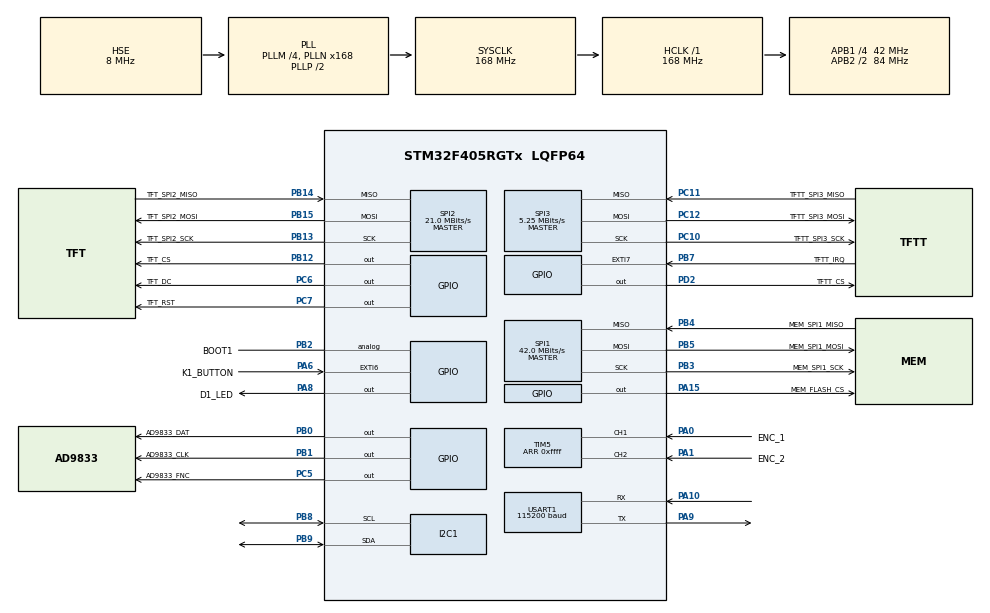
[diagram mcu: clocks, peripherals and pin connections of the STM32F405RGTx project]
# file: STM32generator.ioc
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Dma.Request0=SPI2_TX
Dma.SPI2_TX.0.Direction=DMA_MEMORY_TO_PERIPH
Dma.SPI2_TX.0.FIFOMode=DMA_FIFOMODE_DISABLE
Dma.SPI2_TX.0.Instance=DMA1_Stream4
Dma.SPI2_TX.0.MemDataAlignment=DMA_MDATAALIGN_BYTE
Dma.SPI2_TX.0.MemInc=DMA_MINC_ENABLE
Dma.SPI2_TX.0.Mode=DMA_NORMAL
Dma.SPI2_TX.0.PeriphDataAlignment=DMA_PDATAALIGN_BYTE
Dma.SPI2_TX.0.PeriphInc=DMA_PINC_DISABLE
Dma.SPI2_TX.0.Priority=DMA_PRIORITY_LOW
I2C1.I2C_Mode=I2C_Standard
Mcu.Family=STM32F4
Mcu.Name=STM32F405RGTx
Mcu.Package=LQFP64
NVIC.DMA1_Stream4_IRQn=true\:0\:0\:false\:false\:true\:true\:true\:true
NVIC.EXTI9_5_IRQn=true\:0\:0\:false\:false\:true\:true\:true\:true
NVIC.PriorityGroup=NVIC_PRIORITYGROUP_4
NVIC.SPI2_IRQn=true\:0\:0\:false\:false\:true\:true\:true\:true
PA0-WKUP.GPIO_Label=ENC_1
PA0-WKUP.Signal=S_TIM5_CH1
PA1.GPIO_Label=ENC_2
PA1.Signal=S_TIM5_CH2
PA10.Mode=Asynchronous
PA10.Signal=USART1_RX
PA11.Signal=USB_OTG_FS_DM
PA12.Signal=USB_OTG_FS_DP
PA13.Mode=Serial_Wire
PA13.Signal=SYS_JTMS-SWDIO
PA14.Mode=Serial_Wire
PA14.Signal=SYS_JTCK-SWCLK
PA15.GPIO_Label=MEM_FLASH_CS
PA15.Signal=GPIO_Output
PA6.GPIO_Label=K1_BUTTON
PA6.GPIO_ModeDefaultEXTI=GPIO_MODE_IT_FALLING
PA6.GPIO_PuPd=GPIO_NOPULL
PA6.Signal=GPXTI6
PA8.GPIO_Label=D1_LED
PA8.Signal=GPIO_Output
PA9.Mode=Asynchronous
PA9.Signal=USART1_TX
PB0.GPIO_Label=AD9833_DAT
PB0.Signal=GPIO_Output
PB1.GPIO_Label=AD9833_CLK
PB1.Signal=GPIO_Output
PB12.GPIO_Label=TFT_CS
PB12.Signal=GPIO_Output
PB13.GPIO_Label=TFT_SPI2_SCK
PB13.Mode=Full_Duplex_Master
PB13.Signal=SPI2_SCK
PB14.GPIO_Label=TFT_SPI2_MISO
PB14.Mode=Full_Duplex_Master
PB14.Signal=SPI2_MISO
PB15.GPIO_Label=TFT_SPI2_MOSI
PB15.Mode=Full_Duplex_Master
PB15.Signal=SPI2_MOSI
PB2.GPIO_Label=BOOT1
PB2.Signal=GPIO_Analog
PB3.GPIO_Label=MEM_SPI1_SCK
PB3.Mode=Full_Duplex_Master
PB3.Signal=SPI1_SCK
PB4.GPIO_Label=MEM_SPI1_MISO
PB4.Mode=Full_Duplex_Master
PB4.Signal=SPI1_MISO
PB5.GPIO_Label=MEM_SPI1_MOSI
PB5.Mode=Full_Duplex_Master
PB5.Signal=SPI1_MOSI
PB7.GPIO_Label=TFTT_IRQ
PB7.Signal=GPXTI7
PB8.GPIO_Pu=GPIO_PULLUP
PB8.Mode=I2C
PB8.Signal=I2C1_SCL
PB9.GPIO_Pu=GPIO_PULLUP
PB9.Mode=I2C
PB9.Signal=I2C1_SDA
PC10.GPIO_Label=TFTT_SPI3_SCK
PC10.Mode=Full_Duplex_Master
PC10.Signal=SPI3_SCK
PC11.GPIO_Label=TFTT_SPI3_MISO
PC11.Mode=Full_Duplex_Master
PC11.Signal=SPI3_MISO
PC12.GPIO_Label=TFTT_SPI3_MOSI
PC12.Mode=Full_Duplex_Master
PC12.Signal=SPI3_MOSI
PC14-OSC32_IN.Mode=LSE-External-Oscillator
PC14-OSC32_IN.Signal=RCC_OSC32_IN
PC15-OSC32_OUT.Mode=LSE-External-Oscillator
PC15-OSC32_OUT.Signal=RCC_OSC32_OUT
PC5.GPIO_Label=AD9833_FNC
PC5.Signal=GPIO_Output
PC6.GPIO_Label=TFT_DC
PC6.Signal=GPIO_Output
PC7.GPIO_Label=TFT_RST
PC7.Signal=GPIO_Output
PD2.GPIO_Label=TFTT_CS
PD2.Signal=GPIO_Output
PH0-OSC_IN.Mode=HSE-External-Oscillator
PH0-OSC_IN.Signal=RCC_OSC_IN
PH1-OSC_OUT.Mode=HSE-External-Oscillator
PH1-OSC_OUT.Signal=RCC_OSC_OUT
ProjectManager.HeapSize=0x200
ProjectManager.StackSize=0x400
ProjectManager.TargetToolchain=STM32CubeIDE
RCC.48MHZClocksFreq_Value=48000000
RCC.AHBFreq_Value=168000000
RCC.APB1CLKDivider=RCC_HCLK_DIV4
RCC.APB1Freq_Value=42000000
RCC.APB1TimFreq_Value=84000000
RCC.APB2CLKDivider=RCC_HCLK_DIV2
RCC.APB2Freq_Value=84000000
RCC.APB2TimFreq_Value=168000000
RCC.CortexFreq_Value=168000000
RCC.HCLKFreq_Value=168000000
RCC.HSE_VALUE=8000000
RCC.HSI_VALUE=16000000
RCC.PLLM=4
RCC.PLLN=168
RCC.PLLQ=7
RCC.PLLSourceVirtual=RCC_PLLSOURCE_HSE
RCC.SYSCLKFreq_VALUE=168000000
RCC.SYSCLKSource=RCC_SYSCLKSOURCE_PLLCLK
RCC.VCOOutputFreq_Value=336000000
SH.S_TIM5_CH1.0=TIM5_CH1,Encoder_Interface
SH.S_TIM5_CH2.0=TIM5_CH2,Encoder_Interface
SPI1.BaudRatePrescaler=SPI_BAUDRATEPRESCALER_2
SPI1.CalculateBaudRate=42.0 MBits/s
SPI1.Direction=SPI_DIRECTION_2LINES
SPI1.Mode=SPI_MODE_MASTER
SPI1.VirtualType=VM_MASTER
SPI2.BaudRatePrescaler=SPI_BAUDRATEPRESCALER_2
SPI2.CalculateBaudRate=21.0 MBits/s
SPI2.Direction=SPI_DIRECTION_2LINES
SPI2.Mode=SPI_MODE_MASTER
SPI2.VirtualType=VM_MASTER
SPI3.BaudRatePrescaler=SPI_BAUDRATEPRESCALER_8
SPI3.CalculateBaudRate=5.25 MBits/s
SPI3.Direction=SPI_DIRECTION_2LINES
SPI3.Mode=SPI_MODE_MASTER
SPI3.VirtualType=VM_MASTER
TIM5.EncoderMode=TIM_ENCODERMODE_TI12
TIM5.IC1Filter=15
TIM5.IC2Filter=15
TIM5.Period=0xffff
USART1.BaudRate=115200
USART1.Parity=PARITY_NONE
USART1.VirtualMode=VM_ASYNC
USART1.WordLength=WORDLENGTH_8B
board=custom

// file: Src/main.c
/* USER CODE BEGIN Header */
/**
  ******************************************************************************
  * @file           : main.c
  * @brief          : Main program body
  ******************************************************************************
  * @attention
  *
  * <h2><center>&copy; Copyright (c) 2021 STMicroelectronics.
  * All rights reserved.</center></h2>
  *
  * This software component is licensed by ST under BSD 3-Clause license,
  * the "License"; You may not use this file except in compliance with the
  * License. You may obtain a copy of the License at:
  *                        opensource.org/licenses/BSD-3-Clause
  *
  ******************************************************************************
  */
/* USER CODE END Header */
#include "main.h"
#include "dma.h"
#include "i2c.h"
#include "spi.h"
#include "tim.h"
#include "usart.h"
#include "gpio.h"

/* USER CODE BEGIN PV */
char tekst[100];
char tekstDBG[100];
uint8_t size = 0;
uint8_t sizeDBG = 0;
uint8_t sizedbg = 0;
uint8_t buttons = 0;
int8_t poziom = 0;
uint16_t licznik10ms = 0;
uint8_t buttonswait;
/* USER CODE END PV */

void SystemClock_Config(void);
/* USER CODE BEGIN PFP */
void HAL_SYSTICK_Callback(void) {
	licznik10ms++;
	if(licznik10ms == 10) {
		licznik10ms = 0;
		if(buttonswait) buttonswait--;
		BUTTONS();
		HAL_GPIO_TogglePin(D1_LED_GPIO_Port, D1_LED_Pin);
	}
}

/* USER CODE END PFP */

int main(void)
{

  /* MCU Configuration--------------------------------------------------------*/

  /* Reset of all peripherals, Initializes the Flash interface and the Systick. */
  HAL_Init();

  /* Configure the system clock */
  SystemClock_Config();

  /* USER CODE BEGIN SysInit */
  //SysTick_Config(168000000/1000);
  /* USER CODE END SysInit */

  /* Initialize all configured peripherals */
  MX_GPIO_Init();
  MX_USART1_UART_Init();
  MX_SPI1_Init();
  MX_TIM5_Init();
  MX_I2C1_Init();
  MX_DMA_Init();
  MX_SPI3_Init();
  MX_SPI2_Init();
  /* USER CODE BEGIN 2 */
  HAL_GPIO_WritePin(D1_LED_GPIO_Port, D1_LED_Pin, 1);

  HAL_TIM_Encoder_Start(&htim5, TIM_CHANNEL_ALL);
  ILI9341_Init();
  ILI9341_FillScreen(ILI9341_BLACK);

  size = sprintf((char*)&tekst, "STARTING...");
  ILI9341_WriteString(0, 0 * 18, (char*)&tekst, Font_DOS8x16, ILI9341_GREEN, ILI9341_BLACK, 11);

  W25qxx_Init();
  size = 0xFF;
  HAL_I2C_Master_Transmit(&hi2c1, 0b01000000,&size , 1, 10);

  size = sprintf((char*)&tekst, "OK");
  ILI9341_WriteString(12 * 8, 0 * 18, (char*)&tekst, Font_DOS8x16, ILI9341_GREEN, ILI9341_BLACK, size);

  size = sprintf((char*)&tekst, "DMA...");
  ILI9341_WriteString(0, 1 * 18, (char*)&tekst, Font_DOS8x16, ILI9341_YELLOW, ILI9341_BLACK, size);
  size = sprintf((char*)&tekst, "OK");
  ILI9341_WriteStringDMA(7 * 8, 1 * 18, (char*)&tekst, Font_DOS8x16, ILI9341_YELLOW, ILI9341_BLACK, size);

  size = sprintf((char*)&tekst, "EXT_SPI_FLASH_INFO:");
  ILI9341_WriteStringDMA(0, 2 * 18, (char*)&tekst, Font_DOS8x16, ILI9341_RED, ILI9341_BLACK, size);

  size = sprintf((char*)&tekst, "UID: %X%X%X%X%X%X%X%X", w25qxx.UniqID[7], w25qxx.UniqID[6], w25qxx.UniqID[5], w25qxx.UniqID[4], w25qxx.UniqID[3], w25qxx.UniqID[2], w25qxx.UniqID[1], w25qxx.UniqID[0]);
  ILI9341_WriteStringDMA(0, 3 * 18, (char*)&tekst, Font_DOS8x16, ILI9341_WHITE, ILI9341_BLACK, size);

  size = sprintf((char*)&tekst, "SECTOR_SIZE: %luB", w25qxx.SectorSize);
  ILI9341_WriteStringDMA(0, 4 * 18, (char*)&tekst, Font_DOS8x16, ILI9341_WHITE, ILI9341_BLACK, size);

  size = sprintf((char*)&tekst, "SECTOR_COUNT: %lu", w25qxx.SectorCount);
  ILI9341_WriteStringDMA(0, 5 * 18, (char*)&tekst, Font_DOS8x16, ILI9341_WHITE, ILI9341_BLACK, size);

  size = sprintf((char*)&tekst, "CAPACITY: %luKB", w25qxx.CapacityInKiloByte);
  ILI9341_WriteStringDMA(0, 6 * 18, (char*)&tekst, Font_DOS8x16, ILI9341_WHITE, ILI9341_BLACK, size);

  HAL_Delay(2000);
  ILI9341_FillScreen(ILI9341_BLACK);

  size = sprintf((char*)&tekst, "GENERATOR");
  ILI9341_WriteStringDMA(0 * 8, 1 * 18, (char*)&tekst, Font_DOS8x16, ILI9341_WHITE, ILI9341_BLACK, size);
  size = sprintf((char*)&tekst, "OSCYLOSKOP");
  ILI9341_WriteStringDMA(0 * 8, 4 * 18, (char*)&tekst, Font_DOS8x16, ILI9341_WHITE, ILI9341_BLACK, size);
  size = sprintf((char*)&tekst, "TEST");
  ILI9341_WriteStringDMA(0 * 8, 9 * 18, (char*)&tekst, Font_DOS8x16, ILI9341_WHITE, ILI9341_BLACK, size);
  size = sprintf((char*)&tekst, "RESET");
  ILI9341_WriteStringDMA(0 * 8, 12 * 18, (char*)&tekst, Font_DOS8x16, ILI9341_WHITE, ILI9341_BLACK, size);

  size = sprintf((char*)&tekst, "FFT");
  ILI9341_WriteStringDMA(30 * 8, 1 * 18, (char*)&tekst, Font_DOS8x16, ILI9341_WHITE, ILI9341_BLACK, size);
  size = sprintf((char*)&tekst, "ZEROWANIE");
  ILI9341_WriteStringDMA(24 * 8, 4 * 18, (char*)&tekst, Font_DOS8x16, ILI9341_WHITE, ILI9341_BLACK, size);

  size = sprintf((char*)&tekst, "[BRAK]");
  ILI9341_WriteStringDMA(10 * 8, 4 * 18, (char*)&tekst, Font_DOS8x16, ILI9341_RED, ILI9341_BLACK, size);
  ILI9341_WriteStringDMA(33 * 8, 1 * 18, (char*)&tekst, Font_DOS8x16, ILI9341_RED, ILI9341_BLACK, size);
  ILI9341_WriteStringDMA(33 * 8, 4 * 18, (char*)&tekst, Font_DOS8x16, ILI9341_RED, ILI9341_BLACK, size);

  while(!buttons) {
	  //HAL_I2C_Master_Receive(&hi2c1, 0b01000000, &buttons, 1, 10);
	  //buttons = ~buttons;
  }
  switch(buttons) {
  case (0b10000000) : //generator
		GENERATOR();
		break;
  case (0b01000000) : //oscyloskop
		NVIC_SystemReset();
		break;
  case (0b00100000) : //test
  		TEST();
  		break;
  case (0b00010000) : //reset
  		NVIC_SystemReset();
  		break;
  case (0b00001000) : //FFT
		NVIC_SystemReset();
  		break;
  case (0b00000100) : //zerowanko ADC
		NVIC_SystemReset();
  		break;
  case (0b00000010) : //
		NVIC_SystemReset();
  		break;
  case (0b00000001) : //
		NVIC_SystemReset();
  		break;
  default: //kilka przycisków na raz
	  NVIC_SystemReset();
	  break;
  }

  /* USER CODE END 2 */

  /* Infinite loop */
  /* USER CODE BEGIN WHILE */

  ILI9341_FillScreen(ILI9341_BLACK);
  size = sprintf((char*)&tekst, "FAIL");
  ILI9341_WriteString(0, 0 * 18, (char*)&tekst, Font_DOS8x16, ILI9341_RED, ILI9341_BLACK, size);

  while (1)
  {
    /* USER CODE END WHILE */

  }
}

void SystemClock_Config(void)
{
  RCC_OscInitTypeDef RCC_OscInitStruct = {0};
  RCC_ClkInitTypeDef RCC_ClkInitStruct = {0};

  /** Configure the main internal regulator output voltage
  */
  __HAL_RCC_PWR_CLK_ENABLE();
  __HAL_PWR_VOLTAGESCALING_CONFIG(PWR_REGULATOR_VOLTAGE_SCALE1);

  /** Initializes the RCC Oscillators according to the specified parameters
  * in the RCC_OscInitTypeDef structure.
  */
  RCC_OscInitStruct.OscillatorType = RCC_OSCILLATORTYPE_HSE;
  RCC_OscInitStruct.HSEState = RCC_HSE_ON;
  RCC_OscInitStruct.PLL.PLLState = RCC_PLL_ON;
  RCC_OscInitStruct.PLL.PLLSource = RCC_PLLSOURCE_HSE;
  RCC_OscInitStruct.PLL.PLLM = 4;
  RCC_OscInitStruct.PLL.PLLN = 168;
  RCC_OscInitStruct.PLL.PLLP = RCC_PLLP_DIV2;
  RCC_OscInitStruct.PLL.PLLQ = 7;
  if (HAL_RCC_OscConfig(&RCC_OscInitStruct) != HAL_OK)
  {
    Error_Handler();
  }

  /** Initializes the CPU, AHB and APB buses clocks
  */
  RCC_ClkInitStruct.ClockType = RCC_CLOCKTYPE_HCLK|RCC_CLOCKTYPE_SYSCLK
                              |RCC_CLOCKTYPE_PCLK1|RCC_CLOCKTYPE_PCLK2;
  RCC_ClkInitStruct.SYSCLKSource = RCC_SYSCLKSOURCE_PLLCLK;
  RCC_ClkInitStruct.AHBCLKDivider = RCC_SYSCLK_DIV1;
  RCC_ClkInitStruct.APB1CLKDivider = RCC_HCLK_DIV4;
  RCC_ClkInitStruct.APB2CLKDivider = RCC_HCLK_DIV2;

  if (HAL_RCC_ClockConfig(&RCC_ClkInitStruct, FLASH_LATENCY_5) != HAL_OK)
  {
    Error_Handler();
  }
}

void Error_Handler(void)
{
}
